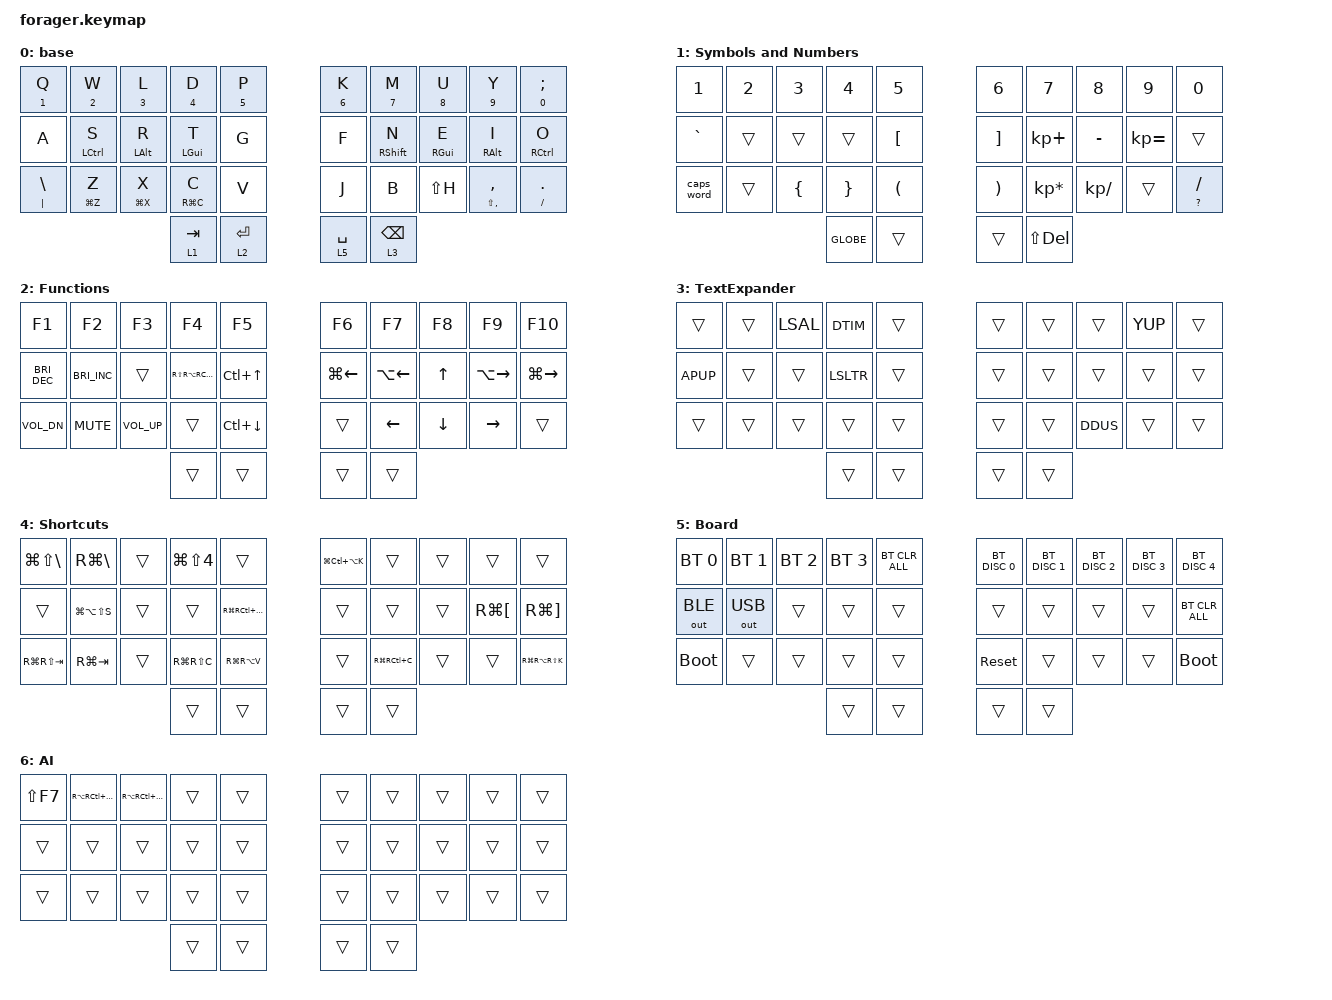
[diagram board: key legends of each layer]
#include <behaviors.dtsi>
#include <dt-bindings/zmk/bt.h>
#include <dt-bindings/zmk/keys.h>
#include <dt-bindings/zmk/outputs.h>

#define BASE 0
#define NAV  1
#define SYM  2
#define ADJ  3

/ {
    behaviors {
        as: auto_shift {
            compatible = "zmk,behavior-hold-tap";
            #binding-cells = <2>;
            tapping-term-ms = <250>;
            require-prior-idle-ms = <100>;
            flavor = "tap-preferred";
            bindings = <&kp>, <&kp>;
        };

        ht: hold_tap {
            compatible = "zmk,behavior-hold-tap";
            #binding-cells = <2>;
            tapping-term-ms = <200>;
            flavor = "balanced";
            bindings = <&kp>, <&kp>;
        };

        sabk: shift_to_alt_backspace {
            compatible = "zmk,behavior-mod-morph";
            #binding-cells = <0>;
            bindings = <&kp BSPC>, <&kp LA(BSPC)>;

            mods = <(MOD_LSFT|MOD_RSFT)>;
        };

        smart_shift: smart_shift {
            compatible = "zmk,behavior-mod-morph";
            #binding-cells = <0>;
            bindings = <&sk LSHFT>, <&caps_word>;

            mods = <(MOD_LSFT|MOD_RSFT)>;
        };

        sym_bspc: left_thumb_hold_tap {
            compatible = "zmk,behavior-hold-tap";
            #binding-cells = <2>;
            flavor = "tap-preferred";
            tapping-term-ms = <150>;
            quick-tap-ms = <200>;
            bindings = <&mo>, <&sabk>;
        };

        lhm: left_homerow_mods {
            compatible = "zmk,behavior-hold-tap";
            #binding-cells = <2>;
            flavor = "balanced";
            tapping-term-ms = <280>;
            quick-tap-ms = <175>;
            require-prior-idle-ms = <150>;
            bindings = <&kp>, <&kp>;

            hold-trigger-key-positions = <5 6 7 8 9 15 16 17 18 19 25 26 27 28 29 32 33>;
            hold-while-undecided;
            hold-trigger-on-release;
        };

        rhm: right_homerow_mods {
            compatible = "zmk,behavior-hold-tap";
            #binding-cells = <2>;
            flavor = "balanced";
            tapping-term-ms = <280>;
            quick-tap-ms = <175>;
            require-prior-idle-ms = <150>;
            bindings = <&kp>, <&kp>;

            hold-trigger-key-positions = <0 1 2 3 4 10 11 12 13 14 20 21 22 23 24 30 31>;
            hold-trigger-on-release;
            hold-while-undecided;
        };

        capsword: capsword {
            compatible = "zmk,behavior-caps-word";
            label = "CAPSWORD";
            #binding-cells = <0>;
            continue-list = <UNDERSCORE MINUS BACKSPACE DELETE>;
        };

        longpress: longpress {
            compatible = "zmk,behavior-hold-tap";
            label = "LONGPRESS";
            bindings = <&kp>, <&kp>;

            #binding-cells = <2>;
            tapping-term-ms = <300>;
            flavor = "tap-preferred";
        };

        HMShiftR: HMShiftR {
            compatible = "zmk,behavior-hold-tap";
            label = "HMSHIFTR";
            bindings = <&kp>, <&kp>;

            #binding-cells = <2>;
            tapping-term-ms = <250>;
            flavor = "balanced";
            hold-trigger-key-positions = <0 1 3 4 10 11 12 13 14 20 21 22 23 24 30 31>;
            hold-trigger-on-release;
            hold-while-undecided;
        };

        HMShiftL: HMShiftL {
            compatible = "zmk,behavior-hold-tap";
            label = "HMSHIFTL";
            bindings = <&kp>, <&kp>;

            #binding-cells = <2>;
            flavor = "balanced";
            hold-while-undecided;
            hold-trigger-key-positions = <5 6 7 8 9 15 16 17 18 19 25 26 27 28 29 33 32>;
            hold-trigger-on-release;
            tapping-term-ms = <250>;
        };

        ltrepeat: ltrepeat {
            compatible = "zmk,behavior-hold-tap";
            label = "LTREPEAT";
            bindings = <&mo>, <&kp>;

            #binding-cells = <2>;
            tapping-term-ms = <200>;
            flavor = "tap-preferred";
            hold-trigger-key-positions = <33 32 31 30>;
        };
    };

    conditional_layers {
        compatible = "zmk,conditional-layers";

        tri_layer {
            if-layers = <1 2>;
            then-layer = <5>;
        };
    };

    macros {
        YUP: YUP {
            compatible = "zmk,behavior-macro";
            #binding-cells = <0>;
            bindings = <&kp COLON &kp Y &kp U &kp P>;
            label = "YUP";
        };

        APUP: APUP {
            compatible = "zmk,behavior-macro";
            #binding-cells = <0>;
            bindings = <&kp COLON &kp A &kp P &kp U &kp P>;
            label = "APUP";
        };

        DDUS: DDUS {
            compatible = "zmk,behavior-macro";
            #binding-cells = <0>;
            bindings = <&kp D &kp D &kp U &kp S>;
            label = "DDUS";
        };

        LSLTR: LSLTR {
            compatible = "zmk,behavior-macro";
            #binding-cells = <0>;
            bindings = <&kp COLON &kp L &kp T>;
            label = "LSLTR";
        };

        DTIM: DTIM {
            compatible = "zmk,behavior-macro";
            #binding-cells = <0>;
            bindings = <&kp D &kp T &kp I &kp M>;
            label = "DTIM";
        };

        LSAL: LSAL {
            compatible = "zmk,behavior-macro";
            #binding-cells = <0>;
            bindings = <&kp COLON &kp L &kp S>;
            label = "LSAL";
        };

        NEXTAPP: NEXTAPP {
            compatible = "zmk,behavior-macro";
            #binding-cells = <0>;
            bindings = <&kp COLON &kp L &kp S>;
            label = "NEXTAPP";
        };
    };

    combos {
        compatible = "zmk,combos";

        Escape {
            bindings = <&kp ESCAPE>;
            key-positions = <0 1>;
        };

        Layer5 {
            bindings = <&mo 4>;
            key-positions = <32 33>;
        };
    };

    keymap {
        compatible = "zmk,keymap";

        base {
            bindings = <
&mt NUMBER_1 Q             &mt NUMBER_2 W  &mt NUMBER_3 L  &mt NUMBER_4 D  &mt N5 P   &mt NUMBER_6 K  &mt N7 M            &mt N8 U          &mt N9 Y             &mt N0 SEMI
&kp A                      &lhm LCTRL S    &lhm LALT R     &lhm LGUI T     &kp G      &kp F           &rhm RIGHT_SHIFT N  &rhm RIGHT_GUI E  &rhm RIGHT_ALT I     &rhm RIGHT_CONTROL O
&longpress PIPE BACKSLASH  &mt LG(Z) Z     &mt LG(X) X     &mt RG(C) C     &kp V      &kp J           &kp B               &kp LS(H)         &as LS(COMMA) COMMA  &as SLASH PERIOD
                                                           &lt 1 TAB       &lt 2 RET  &lt 5 SPACE     &lt 3 BACKSPACE
            >;
        };

        symnum {
            bindings = <
&kp NUMBER_1  &kp NUMBER_2  &kp NUMBER_3    &kp NUMBER_4     &kp NUMBER_5          &kp NUMBER_6           &kp NUMBER_7     &kp NUMBER_8   &kp NUMBER_9  &kp N0
&kp GRAVE     &trans        &trans          &trans           &kp LEFT_BRACKET      &kp RIGHT_BRACKET      &kp KP_PLUS      &kp MINUS      &kp KP_EQUAL  &trans
&caps_word    &trans        &kp LEFT_BRACE  &kp RIGHT_BRACE  &kp LEFT_PARENTHESIS  &kp RIGHT_PARENTHESIS  &kp KP_MULTIPLY  &kp KP_DIVIDE  &trans        &longpress QUESTION SLASH
                                            &kp GLOBE        &trans                &trans                 &kp LS(DELETE)
            >;

            label = "Symbols and Numbers";
        };

        funct {
            bindings = <
&kp F1         &kp F2                &kp F3           &kp F4                 &kp F5            &kp F6              &kp F7              &kp F8          &kp F9               &kp F10
&kp C_BRI_DEC  &kp C_BRIGHTNESS_INC  &trans           &kp RS(RA(RC(RG(F))))  &kp LC(UP_ARROW)  &kp LG(LEFT_ARROW)  &kp LA(LEFT_ARROW)  &kp UP_ARROW    &kp LA(RIGHT_ARROW)  &kp LG(RIGHT_ARROW)
&kp C_VOL_DN   &kp K_MUTE            &kp C_VOLUME_UP  &trans                 &kp LC(DOWN)      &trans              &kp LEFT_ARROW      &kp DOWN_ARROW  &kp RIGHT_ARROW      &trans
                                                      &trans                 &trans            &trans              &trans
            >;

            label = "Functions";
        };

        te {
            bindings = <
&trans  &trans  &LSAL   &DTIM   &trans  &trans  &trans  &trans  &YUP    &trans
&APUP   &trans  &trans  &LSLTR  &trans  &trans  &trans  &trans  &trans  &trans
&trans  &trans  &trans  &trans  &trans  &trans  &trans  &DDUS   &trans  &trans
                        &trans  &trans  &trans  &trans
            >;

            label = "TextExpander";
        };

        short {
            bindings = <
&kp LG(LS(BACKSLASH))  &kp RG(BACKSLASH)  &trans  &kp LG(LS(NUMBER_4))  &trans                 &kp LG(LC(LA(K)))  &trans         &trans  &trans                &trans
&trans                 &kp LG(LA(LS(S)))  &trans  &trans                &kp RG(RC(RA(RS(C))))  &trans             &trans         &trans  &kp RG(LEFT_BRACKET)  &kp RG(RIGHT_BRACKET)
&kp RG(RS(TAB))        &kp RG(TAB)        &trans  &kp RG(RS(C))         &kp RG(RA(V))          &trans             &kp RG(RC(C))  &trans  &trans                &kp RG(RA(RS(K)))
                                                  &trans                &trans                 &trans             &trans
            >;

            label = "Shortcuts";
        };

        board {
            bindings = <
&bt BT_SEL 0  &bt BT_SEL 1  &bt BT_SEL 2  &bt BT_SEL 3  &bt BT_CLR_ALL  &bt BT_DISC 0  &bt BT_DISC 1  &bt BT_DISC 2  &bt BT_DISC 3  &bt BT_DISC 4
&out OUT_BLE  &out OUT_USB  &trans        &trans        &trans          &trans         &trans         &trans         &trans         &bt BT_CLR_ALL
&bootloader   &trans        &trans        &trans        &trans          &sys_reset     &trans         &trans         &trans         &bootloader
                                          &trans        &trans          &trans         &trans
            >;

            label = "Board";
        };

        ai {
            bindings = <
&kp LS(F7)  &kp RA(RC(RS(A)))  &kp RA(RC(RS(B)))  &trans  &trans  &trans  &trans  &trans  &trans  &trans
&trans      &trans             &trans             &trans  &trans  &trans  &trans  &trans  &trans  &trans
&trans      &trans             &trans             &trans  &trans  &trans  &trans  &trans  &trans  &trans
                                                  &trans  &trans  &trans  &trans
            >;

            label = "AI";
        };
    };
};

&lt {
    // require-prior-idle-ms = <100>;

    tapping-term-ms = <150>;
    quick-tap-ms = <200>;
};

&mt { quick-tap-ms = <200>; };

&sk {
    release-after-ms = <500>;
    quick-release;
};
